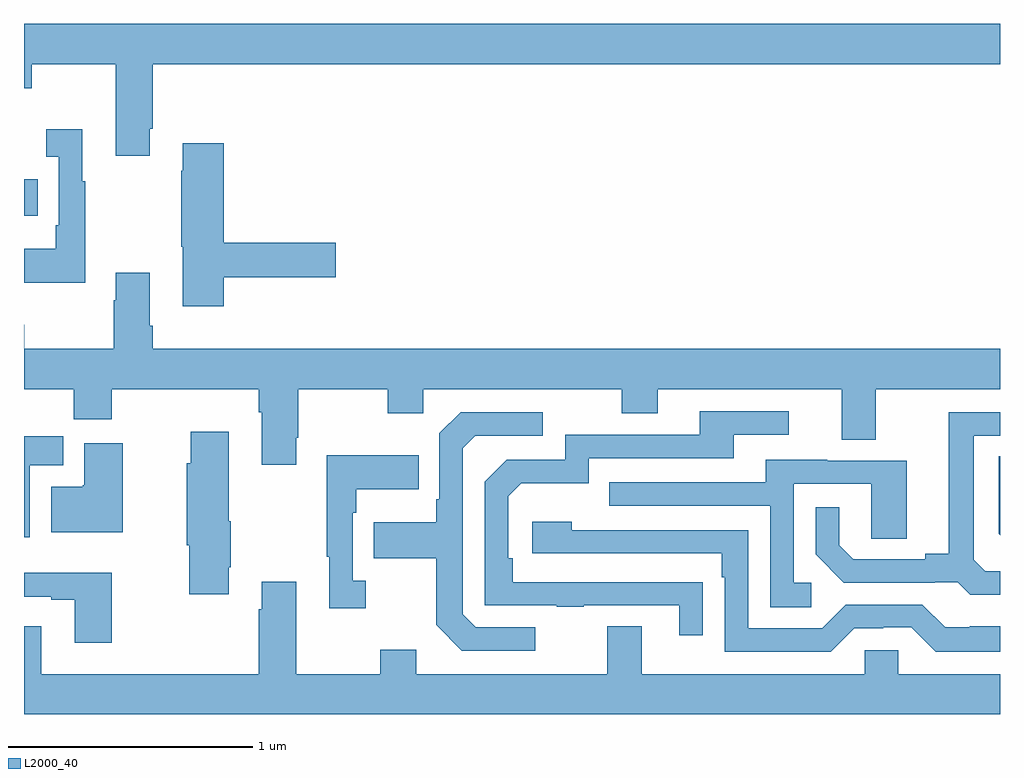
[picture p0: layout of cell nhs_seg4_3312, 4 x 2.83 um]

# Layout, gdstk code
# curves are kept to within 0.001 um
import gdstk
lib = gdstk.Library(unit=1e-6, precision=1e-09)
def R(c, l, rs):  # rectangles x0, y0, x1, y1
    for r in rs: c.add(gdstk.rectangle(r[:2], r[2:], *l))
def P(c, l, *ps):  # polygons
    for p in ps: c.add(gdstk.Polygon(p, *l))
L2000_40 = (2000, 40)

nhs_seg4_3312 = lib.new_cell('nhs_seg4_3312')
R(nhs_seg4_3312, L2000_40, [(287,753.575,287.057,753.723)])
P(nhs_seg4_3312, L2000_40, [(287.515,753.931),(287.528,753.931),(287.528,754.196),(291,754.196),(291,754.36),(287,754.36),(287,754.097),(287.031,754.097),(287.031,754.196),(287.375,754.196),(287.375,753.819),(287.515,753.819)],
  [(287.251,753.715),(287.239,753.715),(287.239,753.928),(287.091,753.928),(287.091,753.815),(287.142,753.815),(287.142,753.535),(287.13,753.535),(287.13,753.439),(287,753.439),(287,753.299),(287.251,753.299)],
  [(287.819,753.322),(288.277,753.322),(288.277,753.464),(287.819,753.464),(287.819,753.871),(287.651,753.871),(287.651,753.758),(287.644,753.758),(287.644,753.447),(287.651,753.447),(287.651,753.204),(287.819,753.204)],
  [(288.115,752.665),(288.123,752.665),(288.123,752.864),(288.49,752.864),(288.49,752.765),(288.636,752.765),(288.636,752.864),(289.45,752.864),(289.45,752.765),(289.597,752.765),(289.597,752.864),(290.351,752.864),(290.351,752.656),(290.491,752.656),(290.491,752.864),(291,752.864),(291,753.028),(287.528,753.028),(287.528,753.124),(287.515,753.124),(287.515,753.34),(287.375,753.34),(287.375,753.227),(287.368,753.227),(287.368,753.028),(287.001,753.028),(287.001,753.127),(287,753.127),(287,752.864),(287.203,752.864),(287.203,752.74),(287.36,752.74),(287.36,752.864),(287.963,752.864),(287.963,752.768),(287.975,752.768),(287.975,752.553),(288.115,752.553)],
  [(289.781,752.072),(289.004,752.073),(289.004,752.17),(288.984,752.17),(288.984,752.424),(289.037,752.477),(289.314,752.477),(289.314,752.58),(289.909,752.58),(289.909,752.676),(290.134,752.676),(290.134,752.772),(289.769,752.772),(289.769,752.676),(289.218,752.676),(289.218,752.574),(288.978,752.574),(288.888,752.484),(288.888,751.977),(289.183,751.977),(289.183,751.972),(289.295,751.972),(289.295,751.977),(289.685,751.977),(289.685,751.854),(289.781,751.854)],
  [(289.096,751.887),(288.852,751.887),(288.798,751.941),(288.798,752.622),(288.849,752.673),(289.126,752.673),(289.126,752.769),(288.789,752.769),(288.702,752.682),(288.702,752.413),(288.69,752.413),(288.69,752.317),(288.433,752.317),(288.433,752.17),(288.69,752.17),(288.69,751.897),(288.795,751.791),(289.096,751.791)],
  [(291,752.118),(290.94,752.118),(290.893,752.165),(290.893,752.673),(291,752.673),(291,752.769),(290.789,752.769),(290.789,752.189),(290.693,752.189),(290.693,752.166),(290.398,752.166),(290.341,752.223),(290.341,752.38),(290.244,752.38),(290.244,752.186),(290.36,752.07),(290.732,752.07),(290.732,752.073),(290.826,752.073),(290.878,752.021),(291,752.021)],
  [(287.839,752.134),(287.847,752.134),(287.847,752.323),(287.839,752.323),(287.839,752.689),(287.684,752.689),(287.684,752.559),(287.666,752.559),(287.666,752.223),(287.677,752.223),(287.677,752.022),(287.839,752.022)],
  [(287.023,752.552),(287.161,752.552),(287.161,752.67),(287,752.67),(287,752.256),(287.023,752.256)],
  [(287.404,752.641),(287.246,752.641),(287.246,752.47),(287.24,752.47),(287.24,752.464),(287.111,752.464),(287.111,752.276),(287.404,752.276)],
  [(288.4,752.078),(288.348,752.078),(288.348,752.357),(288.361,752.357),(288.361,752.453),(288.617,752.453),(288.617,752.593),(288.24,752.593),(288.24,752.177),(288.251,752.177),(288.251,751.965),(288.4,751.965)],
  [(291,752.588),(290.994,752.588),(290.994,752.27),(291,752.264)],
  [(290.227,752.07),(290.154,752.07),(290.154,752.475),(290.472,752.475),(290.472,752.251),(290.617,752.251),(290.617,752.571),(290.293,752.571),(290.293,752.575),(290.039,752.575),(290.039,752.481),(289.399,752.481),(289.399,752.385),(290.058,752.385),(290.058,751.969),(290.227,751.969)],
  [(291,751.891),(290.875,751.891),(290.875,751.887),(290.775,751.887),(290.682,751.98),(290.367,751.98),(290.271,751.884),(289.968,751.884),(289.968,752.286),(289.244,752.286),(289.244,752.32),(289.083,752.32),(289.083,752.19),(289.859,752.19),(289.859,752.093),(289.872,752.093),(289.872,751.788),(290.307,751.788),(290.403,751.884),(290.522,751.884),(290.522,751.887),(290.637,751.887),(290.737,751.787),(291,751.787)],
  [(287.36,752.11),(287,752.11),(287,752.013),(287.111,752.013),(287.111,752.001),(287.207,752.001),(287.207,751.824),(287.36,751.824)],
  [(291,751.696),(290.583,751.696),(290.583,751.794),(290.445,751.794),(290.445,751.696),(289.531,751.696),(289.531,751.891),(289.391,751.891),(289.391,751.696),(288.607,751.696),(288.607,751.795),(288.46,751.795),(288.46,751.696),(288.115,751.696),(288.115,752.074),(287.975,752.074),(287.975,751.961),(287.963,751.961),(287.963,751.696),(287.071,751.696),(287.071,751.891),(287,751.891),(287,751.532),(291,751.532)])

lib.write_gds('nhs_seg4_3312.gds')
